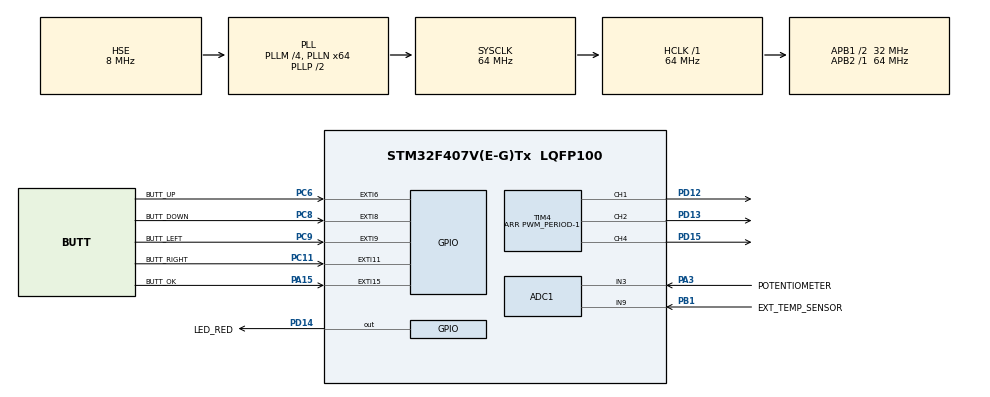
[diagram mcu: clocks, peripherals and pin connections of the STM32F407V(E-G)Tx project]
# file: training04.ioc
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ADC1.Channel-0\#ChannelRegularConversion=ADC_CHANNEL_3
ADC1.Channel-1\#ChannelRegularConversion=ADC_CHANNEL_9
ADC1.Channel-2\#ChannelRegularConversion=ADC_CHANNEL_TEMPSENSOR
ADC1.ClockPrescaler=ADC_CLOCK_SYNC_PCLK_DIV8
ADC1.ContinuousConvMode=ENABLE
ADC1.DMAContinuousRequests=ENABLE
ADC1.InjNumberOfConversion=0
ADC1.NbrOfConversion=3
ADC1.NbrOfConversionFlag=1
ADC1.Rank-0\#ChannelRegularConversion=1
ADC1.Rank-1\#ChannelRegularConversion=2
ADC1.Rank-2\#ChannelRegularConversion=3
ADC1.SamplingTime-0\#ChannelRegularConversion=ADC_SAMPLETIME_480CYCLES
ADC1.SamplingTime-1\#ChannelRegularConversion=ADC_SAMPLETIME_480CYCLES
ADC1.SamplingTime-2\#ChannelRegularConversion=ADC_SAMPLETIME_480CYCLES
ADC1.ScanConvMode=ENABLE
ADC1.master=1
Dma.ADC1.0.Direction=DMA_PERIPH_TO_MEMORY
Dma.ADC1.0.FIFOMode=DMA_FIFOMODE_DISABLE
Dma.ADC1.0.Instance=DMA2_Stream0
Dma.ADC1.0.MemDataAlignment=DMA_MDATAALIGN_HALFWORD
Dma.ADC1.0.MemInc=DMA_MINC_ENABLE
Dma.ADC1.0.Mode=DMA_CIRCULAR
Dma.ADC1.0.PeriphDataAlignment=DMA_PDATAALIGN_HALFWORD
Dma.ADC1.0.PeriphInc=DMA_PINC_DISABLE
Dma.ADC1.0.Priority=DMA_PRIORITY_LOW
Dma.Request0=ADC1
Mcu.Family=STM32F4
Mcu.Name=STM32F407V(E-G)Tx
Mcu.Package=LQFP100
Mcu.UserConstants=TIM4_PRESCALER,8;PWM_PERIOD,100;TIM10_PRESCALER,64000
NVIC.DMA2_Stream0_IRQn=true\:0\:0\:false\:false\:true\:false\:true
NVIC.PriorityGroup=NVIC_PRIORITYGROUP_4
NVIC.TIM1_UP_TIM10_IRQn=true\:0\:0\:false\:false\:true\:true\:true
PA13.Mode=Serial_Wire
PA13.Signal=SYS_JTMS-SWDIO
PA14.Mode=Serial_Wire
PA14.Signal=SYS_JTCK-SWCLK
PA15.GPIO_Label=BUTT_OK
PA15.GPIO_ModeDefaultEXTI=GPIO_MODE_IT_FALLING
PA15.GPIO_PuPd=GPIO_NOPULL
PA15.Signal=GPXTI15
PA3.GPIO_Label=POTENTIOMETER
PA3.Signal=ADCx_IN3
PB1.GPIO_Label=EXT_TEMP_SENSOR
PB1.Signal=ADCx_IN9
PC11.GPIO_Label=BUTT_RIGHT
PC11.GPIO_ModeDefaultEXTI=GPIO_MODE_IT_FALLING
PC11.GPIO_PuPd=GPIO_NOPULL
PC11.Signal=GPXTI11
PC6.GPIO_Label=BUTT_UP
PC6.GPIO_ModeDefaultEXTI=GPIO_MODE_IT_FALLING
PC6.GPIO_PuPd=GPIO_NOPULL
PC6.Signal=GPXTI6
PC8.GPIO_Label=BUTT_DOWN
PC8.GPIO_ModeDefaultEXTI=GPIO_MODE_IT_FALLING
PC8.GPIO_PuPd=GPIO_NOPULL
PC8.Signal=GPXTI8
PC9.GPIO_Label=BUTT_LEFT
PC9.GPIO_ModeDefaultEXTI=GPIO_MODE_IT_FALLING
PC9.GPIO_PuPd=GPIO_NOPULL
PC9.Signal=GPXTI9
PD12.GPIO_PuPd=GPIO_PULLDOWN
PD12.Signal=S_TIM4_CH1
PD13.GPIO_PuPd=GPIO_PULLDOWN
PD13.Signal=S_TIM4_CH2
PD14.GPIO_Label=LED_RED
PD14.Signal=GPIO_Output
PD15.GPIO_PuPd=GPIO_PULLDOWN
PD15.Signal=S_TIM4_CH4
PH0-OSC_IN.Mode=HSE-External-Oscillator
PH0-OSC_IN.Signal=RCC_OSC_IN
PH1-OSC_OUT.Mode=HSE-External-Oscillator
PH1-OSC_OUT.Signal=RCC_OSC_OUT
ProjectManager.HeapSize=0x200
ProjectManager.StackSize=0x400
ProjectManager.TargetToolchain=STM32CubeIDE
RCC.48MHZClocksFreq_Value=32000000
RCC.AHBFreq_Value=64000000
RCC.APB1CLKDivider=RCC_HCLK_DIV2
RCC.APB1Freq_Value=32000000
RCC.APB1TimFreq_Value=64000000
RCC.APB2Freq_Value=64000000
RCC.APB2TimFreq_Value=64000000
RCC.CortexFreq_Value=64000000
RCC.HCLKFreq_Value=64000000
RCC.HSE_VALUE=8000000
RCC.HSI_VALUE=16000000
RCC.LSE_VALUE=32768
RCC.PLLM=4
RCC.PLLN=64
RCC.PLLSourceVirtual=RCC_PLLSOURCE_HSE
RCC.SYSCLKFreq_VALUE=64000000
RCC.SYSCLKSource=RCC_SYSCLKSOURCE_PLLCLK
RCC.VCOOutputFreq_Value=128000000
SH.ADCx_IN3.0=ADC1_IN3,IN3
SH.ADCx_IN9.0=ADC1_IN9,IN9
SH.S_TIM4_CH1.0=TIM4_CH1,PWM Generation1 CH1
SH.S_TIM4_CH2.0=TIM4_CH2,PWM Generation2 CH2
SH.S_TIM4_CH4.0=TIM4_CH4,PWM Generation4 CH4
TIM10.AutoReloadPreload=TIM_AUTORELOAD_PRELOAD_ENABLE
TIM10.Period=0
TIM10.Prescaler=TIM10_PRESCALER-1
TIM4.Channel-PWM\ Generation1\ CH1=TIM_CHANNEL_1
TIM4.Channel-PWM\ Generation2\ CH2=TIM_CHANNEL_2
TIM4.Channel-PWM\ Generation4\ CH4=TIM_CHANNEL_4
TIM4.OCFastMode_PWM-PWM\ Generation1\ CH1=TIM_OCFAST_ENABLE
TIM4.OCFastMode_PWM-PWM\ Generation2\ CH2=TIM_OCFAST_ENABLE
TIM4.OCFastMode_PWM-PWM\ Generation4\ CH4=TIM_OCFAST_ENABLE
TIM4.Period=PWM_PERIOD-1
TIM4.Prescaler=TIM4_PRESCALER-1
TIM4.Pulse-PWM\ Generation1\ CH1=0
VP_ADC1_TempSens_Input.Mode=IN-TempSens
VP_TIM10_VS_ClockSourceINT.Mode=Enable_Timer
board=custom

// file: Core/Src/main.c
/* USER CODE BEGIN Header */
/**
  ******************************************************************************
  * @file           : main.c
  * @brief          : Main program body
  ******************************************************************************
  * @attention
  *
  * <h2><center>&copy; Copyright (c) 2021 STMicroelectronics.
  * All rights reserved.</center></h2>
  *
  * This software component is licensed by ST under BSD 3-Clause license,
  * the "License"; You may not use this file except in compliance with the
  * License. You may obtain a copy of the License at:
  *                        opensource.org/licenses/BSD-3-Clause
  *
  ******************************************************************************
  */
/* USER CODE END Header */
#include "main.h"
//#include "stdio.h"

/* USER CODE BEGIN PD */

#define LED_GREEN_PWM (htim4.Instance->CCR1)
#define LED_ORANGE_PWM (htim4.Instance->CCR2)
#define LED_RED_PWM (htim4.Instance->CCR3)
#define LED_BLUE_PWM (htim4.Instance->CCR4)
#define LED_RED_WARN_PERIOD (htim10.Instance->ARR)
#define TIM10_UPDATE (htim10.Instance->EGR)
#define WARN_BLINK_1_FREQ 10						// Hz*10
#define WARN_BLINK_2_FREQ 25						// Hz*10
#define WARN_BLINK_3_FREQ 50						// Hz*10

#define ADC_RESOLUTION 4095
#define VREF 3000
#define AVR_BUFF_SIZE 8
#define V_EXT_T_SENS_0 2020							//mV - external sensor voltage at 0 degrees Celsius
#define V_EXT_T_SENS_100 20							//mV - external sensor voltage at 100 degrees Celsius
#define V25 760										//mV - datasheet value for 25° C (internal temperature sensor)
#define AVG_SLOPE 2.5								//mV/°C - average slope (internal temperature sensor)

#define TRUE 1
#define FALSE 0

/* USER CODE END PD */

ADC_HandleTypeDef hadc1;
DMA_HandleTypeDef hdma_adc1;

TIM_HandleTypeDef htim4;
TIM_HandleTypeDef htim10;

/* USER CODE BEGIN PV */
volatile uint8_t newADCData;

uint32_t carrierFreq;

uint16_t adcData[3];
uint16_t potADCAvrBuff[AVR_BUFF_SIZE], ExtTempAvrBuff[AVR_BUFF_SIZE], intTempAvrBuff[AVR_BUFF_SIZE];
uint16_t potADCVal, extTempADCVal, intTempADCVal;
uint16_t potVolts, extTempDegree, intTempDegree;
uint16_t extTempVolts, intTempVolts;

const uint16_t potPosMax = VREF, potPosMin = 0;			//mV
const uint16_t extTempMax = 100, extTempMin = 0;		//°C
const uint16_t intTempMax = 100, intTempMin = 0;		//°C

const uint16_t potPosWarnHI = 1000;						// mV
const uint16_t extTempWarnHI = 30;						// %
const uint16_t intTempWarnHI = 35;						// %

const uint16_t potHysteresis = 50;						//mV
const uint16_t tempHysteresis = 1;						//°C

enum {
	POTENTIOMETER,
	EXT_TEMP_SENSOR,
	INT_TEMP_SENSOR
};

enum {
	WARNING_LVL_1 = 1,
	WARNING_LVL_2 = 2,
	WARNING_LVL_3 = 3
}warningLevel;
/* USER CODE END PV */

void SystemClock_Config(void);
static void MX_GPIO_Init(void);
static void MX_TIM4_Init(void);
static void MX_DMA_Init(void);
static void MX_ADC1_Init(void);
static void MX_TIM10_Init(void);
/* USER CODE BEGIN PFP */
void updateAverageValue(void);
void updatePWM(void);
void adcDataConvert(void);
void alarmBlink(void);
_Bool hysteresisCheck(uint16_t, _Bool, uint16_t, uint16_t);
/* USER CODE END PFP */

/* USER CODE BEGIN 0 */

/* @brief TIM10 counter elapsed callback
 * @param *htim pointer to timer structure
 * @retval None
 * */
void HAL_TIM_PeriodElapsedCallback(TIM_HandleTypeDef *htim)
{
	HAL_GPIO_TogglePin(GPIOD, LED_RED_Pin);
}

/*
int _write(int file, char* ptr, int len) {
	int i = 0;
	for (i = 0; i<len; i++) ITM_SendChar(*ptr++);
	return len;
}*/

/* @brief ADC group conversion complete
 * @param hadc pointer to ADC structure
 * @retval None
 * */
void HAL_ADC_ConvCpltCallback(ADC_HandleTypeDef* hadc){
		newADCData = TRUE;
}

/* @brief reading new ADC data from DMA buffer and averaging it
 * @param none
 * @retval None
 * */
void updateAverageValue(void){
	static uint8_t currentAvrElement = 0;

	potADCAvrBuff[currentAvrElement] = adcData[POTENTIOMETER];
	ExtTempAvrBuff[currentAvrElement] = adcData[EXT_TEMP_SENSOR];
	intTempAvrBuff[currentAvrElement] = adcData[INT_TEMP_SENSOR];

	currentAvrElement = (currentAvrElement >= (AVR_BUFF_SIZE - 1)) ? 0 : (currentAvrElement + 1);

	potADCVal = 0;
	extTempADCVal = 0;
	intTempADCVal = 0;

	for (uint8_t i = 0; i < AVR_BUFF_SIZE ; i++){
		potADCVal += potADCAvrBuff[i];
		extTempADCVal += ExtTempAvrBuff[i];
		intTempADCVal += intTempAvrBuff[i];
	}

	potADCVal = potADCVal >> 3;
	extTempADCVal = extTempADCVal >> 3;
	intTempADCVal = intTempADCVal >> 3;
}

/* @brief checking if value limits reached
 * @param constant pointers to (uint16_t) value, max, min
 * @retval (uint16_t) result of limits check
 * */
uint16_t limitsCheck(const uint16_t* const value, const uint16_t* const max, const uint16_t* const min){
	if (*value > *max) return *max;
	if (*value < *min) return *min;
	else return *value;
}

/* @brief update PWM values to TIM4 channels configured for PWM
 * @param none
 * @retval none
 * */
void updatePWM(void){
	LED_BLUE_PWM = potVolts * PWM_PERIOD / VREF;
	LED_GREEN_PWM = limitsCheck(&extTempDegree, &extTempMax, &extTempMin) * PWM_PERIOD / extTempMax;
	LED_ORANGE_PWM = limitsCheck(&intTempDegree, &intTempMax, &intTempMin)  * PWM_PERIOD / intTempMax;
}

/* @brief converting raw ADC data to volts and degrees
 * @param none
 * @retval none
 * */
void adcDataConvert(void){
	/*Potentiometer: discrete to volts*/
	potVolts = VREF * potADCVal / ADC_RESOLUTION;
	/*External temperature sensor: discrete to volts and to degrees*/
	extTempVolts = VREF * extTempADCVal / ADC_RESOLUTION;
	extTempDegree = extTempMax - ((extTempVolts - V_EXT_T_SENS_100) * extTempMax / (V_EXT_T_SENS_0 - V_EXT_T_SENS_100)) + extTempMin;
	/*Internal temperature sensor: discrete to volts and to degrees*/
	intTempVolts = VREF * intTempADCVal / ADC_RESOLUTION;
	intTempDegree = ((intTempVolts - V25) / AVG_SLOPE) + 25;		//formula from datasheet

//	 printf("%d %d %d\n", potVolts, extTempDegree, intTempDegree);
}

/* @brief checking if alarm is occurred and applying hysteresis
 * @param (uint16_t) value, warnHI, hyst, (bool) warnPrev
 * @retval bool value
 * */
_Bool hysteresisCheck(uint16_t value, _Bool warnPrev, uint16_t warnHI, uint16_t hyst){
	if (warnPrev) return (value > (warnHI - hyst));
	else return (value > warnHI);
}

/* @brief analysing if alarm blink is needed
 * @param none
 * @retval none
 * */
void alarmBlink(void){
uint8_t warning = 0;
static uint8_t warnPrev = 0;
static _Bool potPosWarnHiPrev, extTempWarnHiPrev, intTempWarnHiPrev;

	if (hysteresisCheck(potVolts, potPosWarnHiPrev, potPosWarnHI, potHysteresis)) {
		warning++;
		potPosWarnHiPrev = TRUE;
	}
	else potPosWarnHiPrev = FALSE;

	if (hysteresisCheck(extTempDegree, extTempWarnHiPrev, extTempWarnHI, tempHysteresis)) {
		warning++;
		extTempWarnHiPrev = TRUE;
	}
	else extTempWarnHiPrev = FALSE;

	if (hysteresisCheck(intTempDegree, intTempWarnHiPrev, intTempWarnHI, tempHysteresis)) {
		warning++;
		intTempWarnHiPrev = TRUE;
	}
	else intTempWarnHiPrev = FALSE;

	if (warning){
		switch (warning){
		case WARNING_LVL_1:
			LED_RED_WARN_PERIOD = ((carrierFreq * 10)/(WARN_BLINK_1_FREQ * 2)) - 1;
			break;
		case WARNING_LVL_2:
			LED_RED_WARN_PERIOD = ((carrierFreq * 10)/(WARN_BLINK_2_FREQ * 2)) - 1;
			break;
		case WARNING_LVL_3:
			LED_RED_WARN_PERIOD = ((carrierFreq * 10)/(WARN_BLINK_3_FREQ * 2)) - 1;
			break;
		}
	}
	else {
		LED_RED_WARN_PERIOD = 0;
		HAL_GPIO_WritePin(GPIOD, LED_RED_Pin, GPIO_PIN_RESET);
	}
	if (warning != warnPrev) {
		TIM10_UPDATE = TRUE;
		warnPrev = warning;
	}
}
/* USER CODE END 0 */

int main(void)
{

  /* MCU Configuration--------------------------------------------------------*/

  /* Reset of all peripherals, Initializes the Flash interface and the Systick. */
  HAL_Init();

  /* Configure the system clock */
  SystemClock_Config();

  /* Initialize all configured peripherals */
  MX_GPIO_Init();
  MX_TIM4_Init();
  MX_DMA_Init();
  MX_ADC1_Init();
  MX_TIM10_Init();
  /* USER CODE BEGIN 2 */
  HAL_ADC_Start_DMA(&hadc1, (uint32_t*)&adcData, 3);

  HAL_TIM_PWM_Start(&htim4, TIM_CHANNEL_1);
  HAL_TIM_PWM_Start(&htim4, TIM_CHANNEL_2);
  HAL_TIM_PWM_Start(&htim4, TIM_CHANNEL_4);

  HAL_TIM_Base_Start_IT(&htim10);
  //LED_RED_WARN_PERIOD = 0;
  carrierFreq = (uint32_t)(HAL_RCC_GetPCLK2Freq()/(TIM10_PRESCALER));
  /* USER CODE END 2 */

  /* Infinite loop */
  /* USER CODE BEGIN WHILE */
  while (1)
  {
	  if (newADCData) {
		  updateAverageValue();

		  adcDataConvert();

		  updatePWM();

		  alarmBlink();

		  newADCData = FALSE;
	  }
    /* USER CODE END WHILE */

  }
}

void SystemClock_Config(void)
{
  RCC_OscInitTypeDef RCC_OscInitStruct = {0};
  RCC_ClkInitTypeDef RCC_ClkInitStruct = {0};

  /** Configure the main internal regulator output voltage
  */
  __HAL_RCC_PWR_CLK_ENABLE();
  __HAL_PWR_VOLTAGESCALING_CONFIG(PWR_REGULATOR_VOLTAGE_SCALE1);
  /** Initializes the RCC Oscillators according to the specified parameters
  * in the RCC_OscInitTypeDef structure.
  */
  RCC_OscInitStruct.OscillatorType = RCC_OSCILLATORTYPE_HSE;
  RCC_OscInitStruct.HSEState = RCC_HSE_ON;
  RCC_OscInitStruct.PLL.PLLState = RCC_PLL_ON;
  RCC_OscInitStruct.PLL.PLLSource = RCC_PLLSOURCE_HSE;
  RCC_OscInitStruct.PLL.PLLM = 4;
  RCC_OscInitStruct.PLL.PLLN = 64;
  RCC_OscInitStruct.PLL.PLLP = RCC_PLLP_DIV2;
  RCC_OscInitStruct.PLL.PLLQ = 4;
  if (HAL_RCC_OscConfig(&RCC_OscInitStruct) != HAL_OK)
  {
    Error_Handler();
  }
  /** Initializes the CPU, AHB and APB buses clocks
  */
  RCC_ClkInitStruct.ClockType = RCC_CLOCKTYPE_HCLK|RCC_CLOCKTYPE_SYSCLK
                              |RCC_CLOCKTYPE_PCLK1|RCC_CLOCKTYPE_PCLK2;
  RCC_ClkInitStruct.SYSCLKSource = RCC_SYSCLKSOURCE_PLLCLK;
  RCC_ClkInitStruct.AHBCLKDivider = RCC_SYSCLK_DIV1;
  RCC_ClkInitStruct.APB1CLKDivider = RCC_HCLK_DIV2;
  RCC_ClkInitStruct.APB2CLKDivider = RCC_HCLK_DIV1;

  if (HAL_RCC_ClockConfig(&RCC_ClkInitStruct, FLASH_LATENCY_2) != HAL_OK)
  {
    Error_Handler();
  }
}

static void MX_ADC1_Init(void)
{

  ADC_ChannelConfTypeDef sConfig = {0};

  /** Configure the global features of the ADC (Clock, Resolution, Data Alignment and number of conversion)
  */
  hadc1.Instance = ADC1;
  hadc1.Init.ClockPrescaler = ADC_CLOCK_SYNC_PCLK_DIV8;
  hadc1.Init.Resolution = ADC_RESOLUTION_12B;
  hadc1.Init.ScanConvMode = ENABLE;
  hadc1.Init.ContinuousConvMode = ENABLE;
  hadc1.Init.DiscontinuousConvMode = DISABLE;
  hadc1.Init.ExternalTrigConvEdge = ADC_EXTERNALTRIGCONVEDGE_NONE;
  hadc1.Init.ExternalTrigConv = ADC_SOFTWARE_START;
  hadc1.Init.DataAlign = ADC_DATAALIGN_RIGHT;
  hadc1.Init.NbrOfConversion = 3;
  hadc1.Init.DMAContinuousRequests = ENABLE;
  hadc1.Init.EOCSelection = ADC_EOC_SINGLE_CONV;
  if (HAL_ADC_Init(&hadc1) != HAL_OK)
  {
    Error_Handler();
  }
  /** Configure for the selected ADC regular channel its corresponding rank in the sequencer and its sample time.
  */
  sConfig.Channel = ADC_CHANNEL_3;
  sConfig.Rank = 1;
  sConfig.SamplingTime = ADC_SAMPLETIME_480CYCLES;
  if (HAL_ADC_ConfigChannel(&hadc1, &sConfig) != HAL_OK)
  {
    Error_Handler();
  }
  /** Configure for the selected ADC regular channel its corresponding rank in the sequencer and its sample time.
  */
  sConfig.Channel = ADC_CHANNEL_9;
  sConfig.Rank = 2;
  if (HAL_ADC_ConfigChannel(&hadc1, &sConfig) != HAL_OK)
  {
    Error_Handler();
  }
  /** Configure for the selected ADC regular channel its corresponding rank in the sequencer and its sample time.
  */
  sConfig.Channel = ADC_CHANNEL_TEMPSENSOR;
  sConfig.Rank = 3;
  if (HAL_ADC_ConfigChannel(&hadc1, &sConfig) != HAL_OK)
  {
    Error_Handler();
  }

}

static void MX_TIM4_Init(void)
{

  TIM_MasterConfigTypeDef sMasterConfig = {0};
  TIM_OC_InitTypeDef sConfigOC = {0};

  htim4.Instance = TIM4;
  htim4.Init.Prescaler = TIM4_PRESCALER-1;
  htim4.Init.CounterMode = TIM_COUNTERMODE_UP;
  htim4.Init.Period = PWM_PERIOD-1;
  htim4.Init.ClockDivision = TIM_CLOCKDIVISION_DIV1;
  htim4.Init.AutoReloadPreload = TIM_AUTORELOAD_PRELOAD_DISABLE;
  if (HAL_TIM_PWM_Init(&htim4) != HAL_OK)
  {
    Error_Handler();
  }
  sMasterConfig.MasterOutputTrigger = TIM_TRGO_RESET;
  sMasterConfig.MasterSlaveMode = TIM_MASTERSLAVEMODE_DISABLE;
  if (HAL_TIMEx_MasterConfigSynchronization(&htim4, &sMasterConfig) != HAL_OK)
  {
    Error_Handler();
  }
  sConfigOC.OCMode = TIM_OCMODE_PWM1;
  sConfigOC.Pulse = 0;
  sConfigOC.OCPolarity = TIM_OCPOLARITY_HIGH;
  sConfigOC.OCFastMode = TIM_OCFAST_ENABLE;
  if (HAL_TIM_PWM_ConfigChannel(&htim4, &sConfigOC, TIM_CHANNEL_1) != HAL_OK)
  {
    Error_Handler();
  }
  if (HAL_TIM_PWM_ConfigChannel(&htim4, &sConfigOC, TIM_CHANNEL_2) != HAL_OK)
  {
    Error_Handler();
  }
  if (HAL_TIM_PWM_ConfigChannel(&htim4, &sConfigOC, TIM_CHANNEL_4) != HAL_OK)
  {
    Error_Handler();
  }
  HAL_TIM_MspPostInit(&htim4);

}

static void MX_TIM10_Init(void)
{

  htim10.Instance = TIM10;
  htim10.Init.Prescaler = TIM10_PRESCALER-1;
  htim10.Init.CounterMode = TIM_COUNTERMODE_UP;
  htim10.Init.Period = 0;
  htim10.Init.ClockDivision = TIM_CLOCKDIVISION_DIV1;
  htim10.Init.AutoReloadPreload = TIM_AUTORELOAD_PRELOAD_ENABLE;
  if (HAL_TIM_Base_Init(&htim10) != HAL_OK)
  {
    Error_Handler();
  }

}

static void MX_DMA_Init(void)
{

  /* DMA controller clock enable */
  __HAL_RCC_DMA2_CLK_ENABLE();

  /* DMA interrupt init */
  /* DMA2_Stream0_IRQn interrupt configuration */
  HAL_NVIC_SetPriority(DMA2_Stream0_IRQn, 0, 0);
  HAL_NVIC_EnableIRQ(DMA2_Stream0_IRQn);

}

static void MX_GPIO_Init(void)
{
  GPIO_InitTypeDef GPIO_InitStruct = {0};

  /* GPIO Ports Clock Enable */
  __HAL_RCC_GPIOH_CLK_ENABLE();
  __HAL_RCC_GPIOA_CLK_ENABLE();
  __HAL_RCC_GPIOB_CLK_ENABLE();
  __HAL_RCC_GPIOD_CLK_ENABLE();
  __HAL_RCC_GPIOC_CLK_ENABLE();

  /*Configure GPIO pin Output Level */
  HAL_GPIO_WritePin(LED_RED_GPIO_Port, LED_RED_Pin, GPIO_PIN_RESET);

  /*Configure GPIO pin : LED_RED_Pin */
  GPIO_InitStruct.Pin = LED_RED_Pin;
  GPIO_InitStruct.Mode = GPIO_MODE_OUTPUT_PP;
  GPIO_InitStruct.Pull = GPIO_NOPULL;
  GPIO_InitStruct.Speed = GPIO_SPEED_FREQ_LOW;
  HAL_GPIO_Init(LED_RED_GPIO_Port, &GPIO_InitStruct);

  /*Configure GPIO pins : BUTT_UP_Pin BUTT_DOWN_Pin BUTT_LEFT_Pin BUTT_RIGHT_Pin */
  GPIO_InitStruct.Pin = BUTT_UP_Pin|BUTT_DOWN_Pin|BUTT_LEFT_Pin|BUTT_RIGHT_Pin;
  GPIO_InitStruct.Mode = GPIO_MODE_IT_FALLING;
  GPIO_InitStruct.Pull = GPIO_NOPULL;
  HAL_GPIO_Init(GPIOC, &GPIO_InitStruct);

  /*Configure GPIO pin : BUTT_OK_Pin */
  GPIO_InitStruct.Pin = BUTT_OK_Pin;
  GPIO_InitStruct.Mode = GPIO_MODE_IT_FALLING;
  GPIO_InitStruct.Pull = GPIO_NOPULL;
  HAL_GPIO_Init(BUTT_OK_GPIO_Port, &GPIO_InitStruct);

}

void Error_Handler(void)
{
  __disable_irq();
  while (1)
  {
  }
}

/************************ (C) COPYRIGHT STMicroelectronics *****END OF FILE****/
